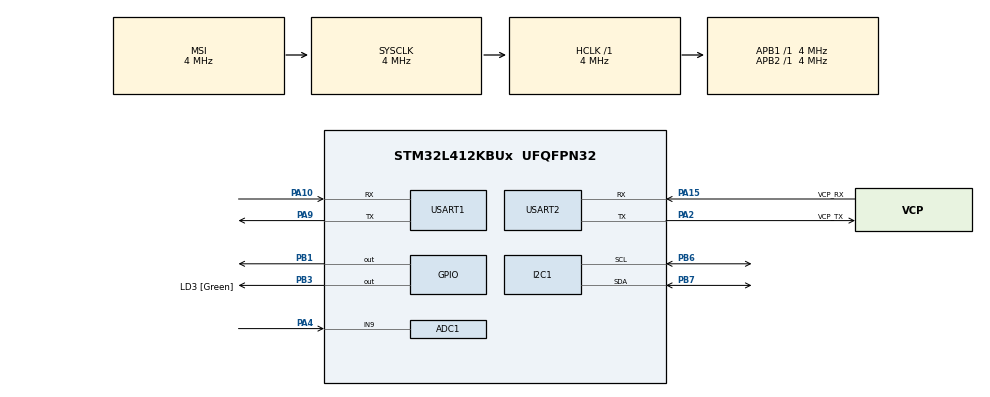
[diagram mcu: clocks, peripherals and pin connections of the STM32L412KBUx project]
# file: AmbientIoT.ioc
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ADC1.Channel-1\#ChannelRegularConversion=ADC_CHANNEL_9
ADC1.NbrOfConversionFlag=1
ADC1.OffsetNumber-1\#ChannelRegularConversion=ADC_OFFSET_NONE
ADC1.Rank-1\#ChannelRegularConversion=1
ADC1.SamplingTime-1\#ChannelRegularConversion=ADC_SAMPLETIME_2CYCLES_5
ADC1.master=1
Mcu.Family=STM32L4
Mcu.Name=STM32L412KBUx
Mcu.Package=UFQFPN32
NVIC.PriorityGroup=NVIC_PRIORITYGROUP_4
PA0-CK_IN.Mode=HSE-External-Clock-Source-for-LittleOrca
PA0-CK_IN.Signal=RCC_CK_IN
PA10.Mode=Asynchronous
PA10.Signal=USART1_RX
PA13\ (JTMS/SWDIO).GPIO_Label=SWDIO
PA13\ (JTMS/SWDIO).Mode=Serial_Wire
PA13\ (JTMS/SWDIO).Signal=SYS_JTMS-SWDIO
PA14\ (JTCK/SWCLK).GPIO_Label=SWCLK
PA14\ (JTCK/SWCLK).Mode=Serial_Wire
PA14\ (JTCK/SWCLK).Signal=SYS_JTCK-SWCLK
PA15\ (JTDI).GPIO_Label=VCP_RX
PA15\ (JTDI).Mode=Asynchronous
PA15\ (JTDI).Signal=USART2_RX
PA2.GPIO_Label=VCP_TX
PA2.Mode=Asynchronous
PA2.Signal=USART2_TX
PA4.Signal=ADCx_IN9
PA9.Mode=Asynchronous
PA9.Signal=USART1_TX
PB1.Signal=GPIO_Output
PB3\ (JTDO/TRACESWO).GPIO_Label=LD3 [Green]
PB3\ (JTDO/TRACESWO).Signal=GPIO_Output
PB6.Mode=I2C
PB6.Signal=I2C1_SCL
PB7.Mode=I2C
PB7.Signal=I2C1_SDA
PC14-OSC32_IN\ (PC14).Mode=LSE-External-Oscillator
PC14-OSC32_IN\ (PC14).Signal=RCC_OSC32_IN
PC15-OSC32_OUT\ (PC15).Mode=LSE-External-Oscillator
PC15-OSC32_OUT\ (PC15).Signal=RCC_OSC32_OUT
ProjectManager.HeapSize=0x200
ProjectManager.StackSize=0x400
ProjectManager.TargetToolchain=STM32CubeIDE
RCC.ADCFreq_Value=4000000
RCC.AHBFreq_Value=4000000
RCC.APB1Freq_Value=4000000
RCC.APB1TimFreq_Value=4000000
RCC.APB2Freq_Value=4000000
RCC.APB2TimFreq_Value=4000000
RCC.CortexFreq_Value=4000000
RCC.FLatency=FLASH_LATENCY_0
RCC.HCLKFreq_Value=4000000
RCC.HSE_VALUE=8000000
RCC.HSI48_VALUE=48000000
RCC.HSICalibrationValue=64
RCC.HSI_VALUE=16000000
RCC.LSE_Drive_Capability=RCC_LSEDRIVE_LOW
RCC.MSI_VALUE=4000000
RCC.SYSCLKFreq_VALUE=4000000
RCC.USBFreq_Value=4000000
RCC.VCOOutputFreq_Value=32000000
SH.ADCx_IN9.0=ADC1_IN9,IN9-Single-Ended
USART1.VirtualMode-Asynchronous=VM_ASYNC
USART2.VirtualMode-Asynchronous=VM_ASYNC
board=NUCLEO-L412KB

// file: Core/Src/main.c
/* USER CODE BEGIN Header */
/**
  ******************************************************************************
  * @file           : main.c
  * @brief          : Main program body
  ******************************************************************************
  * @attention
  *
  * Copyright (c) 2026 STMicroelectronics.
  * All rights reserved.
  *
  * This software is licensed under terms that can be found in the LICENSE file
  * in the root directory of this software component.
  * If no LICENSE file comes with this software, it is provided AS-IS.
  *
  ******************************************************************************
  */
/* USER CODE END Header */
#include "main.h"

/* USER CODE BEGIN Includes */

#include "sht3x.h"
#include "stdio.h"
#include "string.h"

/* USER CODE END Includes */

ADC_HandleTypeDef hadc1;

I2C_HandleTypeDef hi2c1;

UART_HandleTypeDef huart1;
UART_HandleTypeDef huart2;

/* USER CODE BEGIN PV */

int32_t  temperature;
uint32_t  humidity;
float moisture;
uint16_t moisture_adc;
char txBuffer[100];

/* USER CODE END PV */

void SystemClock_Config(void);
static void MX_GPIO_Init(void);
static void MX_USART2_UART_Init(void);
static void MX_ADC1_Init(void);
static void MX_I2C1_Init(void);
static void MX_USART1_UART_Init(void);
/* USER CODE BEGIN PFP */

void Read_Sensors(void);
void Transmit_Data(void);

/* USER CODE END PFP */

/* USER CODE BEGIN 0 */

void Read_Sensors(void)
{
    sht3x_one_shot_measurement_clock_stretching(
        &hi2c1,
		SHT3X_ADDRESS_DEFAULT,
		SHT3X_CLOCK_STRETCH_HIGH,
        &temperature,
        &humidity);

    HAL_GPIO_WritePin(GPIOB,
    		GPIO_PIN_1, GPIO_PIN_SET);

    HAL_Delay(1000);

    HAL_ADC_Start(&hadc1);

    HAL_ADC_PollForConversion(&hadc1, HAL_MAX_DELAY);

    moisture_adc = HAL_ADC_GetValue(&hadc1);

    HAL_ADC_Stop(&hadc1);

    moisture = (float) moisture_adc / 4095.0 * 100.0;

    HAL_GPIO_WritePin(GPIOB,
        		GPIO_PIN_1, GPIO_PIN_RESET);
}

void Transmit_Data(void)
{
    char buffer[64];
    uint8_t STX = 0x02;
    uint8_t ETX = 0x03;

    sprintf(buffer,
    		"ADC=%.2f Temp=%.2f C Hum=%lu %%\r\n",
			moisture,
			temperature / 100.0f,
			humidity);

    HAL_UART_Transmit(
    		&huart1,
			&STX,
			1,
			HAL_MAX_DELAY);

    HAL_UART_Transmit(
			&huart1,
			(uint8_t*)buffer,
			strlen(buffer),
			HAL_MAX_DELAY);

    HAL_UART_Transmit(
    		&huart1,
			&ETX,
			1,
			HAL_MAX_DELAY);

}

/* USER CODE END 0 */

int main(void)
{

  /* MCU Configuration--------------------------------------------------------*/

  /* Reset of all peripherals, Initializes the Flash interface and the Systick. */
  HAL_Init();

  /* Configure the system clock */
  SystemClock_Config();

  /* Initialize all configured peripherals */
  MX_GPIO_Init();
  MX_USART2_UART_Init();
  MX_ADC1_Init();
  MX_I2C1_Init();
  MX_USART1_UART_Init();
  /* USER CODE BEGIN 2 */

  if (sht3x_sensor_present(&hi2c1, 0x44))
  {
      printf("SHT31 found\r\n");
  }
  else
  {
      printf("SHT31 not found\r\n");
  }

  /* USER CODE END 2 */

  /* Infinite loop */
  /* USER CODE BEGIN WHILE */
  while (1)
  {

	Read_Sensors();
	Transmit_Data();

	HAL_Delay(1000);

    /* USER CODE END WHILE */

  }
}

void SystemClock_Config(void)
{
  RCC_OscInitTypeDef RCC_OscInitStruct = {0};
  RCC_ClkInitTypeDef RCC_ClkInitStruct = {0};

  /** Configure the main internal regulator output voltage
  */
  if (HAL_PWREx_ControlVoltageScaling(PWR_REGULATOR_VOLTAGE_SCALE1) != HAL_OK)
  {
    Error_Handler();
  }

  /** Configure LSE Drive Capability
  */
  HAL_PWR_EnableBkUpAccess();
  __HAL_RCC_LSEDRIVE_CONFIG(RCC_LSEDRIVE_LOW);

  /** Initializes the RCC Oscillators according to the specified parameters
  * in the RCC_OscInitTypeDef structure.
  */
  RCC_OscInitStruct.OscillatorType = RCC_OSCILLATORTYPE_LSE|RCC_OSCILLATORTYPE_MSI;
  RCC_OscInitStruct.LSEState = RCC_LSE_ON;
  RCC_OscInitStruct.MSIState = RCC_MSI_ON;
  RCC_OscInitStruct.MSICalibrationValue = 0;
  RCC_OscInitStruct.MSIClockRange = RCC_MSIRANGE_6;
  RCC_OscInitStruct.PLL.PLLState = RCC_PLL_NONE;
  if (HAL_RCC_OscConfig(&RCC_OscInitStruct) != HAL_OK)
  {
    Error_Handler();
  }

  /** Initializes the CPU, AHB and APB buses clocks
  */
  RCC_ClkInitStruct.ClockType = RCC_CLOCKTYPE_HCLK|RCC_CLOCKTYPE_SYSCLK
                              |RCC_CLOCKTYPE_PCLK1|RCC_CLOCKTYPE_PCLK2;
  RCC_ClkInitStruct.SYSCLKSource = RCC_SYSCLKSOURCE_MSI;
  RCC_ClkInitStruct.AHBCLKDivider = RCC_SYSCLK_DIV1;
  RCC_ClkInitStruct.APB1CLKDivider = RCC_HCLK_DIV1;
  RCC_ClkInitStruct.APB2CLKDivider = RCC_HCLK_DIV1;

  if (HAL_RCC_ClockConfig(&RCC_ClkInitStruct, FLASH_LATENCY_0) != HAL_OK)
  {
    Error_Handler();
  }

  /** Enable MSI Auto calibration
  */
  HAL_RCCEx_EnableMSIPLLMode();
}

static void MX_ADC1_Init(void)
{

  ADC_MultiModeTypeDef multimode = {0};
  ADC_ChannelConfTypeDef sConfig = {0};

  /** Common config
  */
  hadc1.Instance = ADC1;
  hadc1.Init.ClockPrescaler = ADC_CLOCK_ASYNC_DIV1;
  hadc1.Init.Resolution = ADC_RESOLUTION_12B;
  hadc1.Init.DataAlign = ADC_DATAALIGN_RIGHT;
  hadc1.Init.ScanConvMode = ADC_SCAN_DISABLE;
  hadc1.Init.EOCSelection = ADC_EOC_SINGLE_CONV;
  hadc1.Init.LowPowerAutoWait = DISABLE;
  hadc1.Init.ContinuousConvMode = DISABLE;
  hadc1.Init.NbrOfConversion = 1;
  hadc1.Init.DiscontinuousConvMode = DISABLE;
  hadc1.Init.ExternalTrigConv = ADC_SOFTWARE_START;
  hadc1.Init.ExternalTrigConvEdge = ADC_EXTERNALTRIGCONVEDGE_NONE;
  hadc1.Init.DMAContinuousRequests = DISABLE;
  hadc1.Init.Overrun = ADC_OVR_DATA_PRESERVED;
  hadc1.Init.OversamplingMode = DISABLE;
  if (HAL_ADC_Init(&hadc1) != HAL_OK)
  {
    Error_Handler();
  }

  /** Configure the ADC multi-mode
  */
  multimode.Mode = ADC_MODE_INDEPENDENT;
  if (HAL_ADCEx_MultiModeConfigChannel(&hadc1, &multimode) != HAL_OK)
  {
    Error_Handler();
  }

  /** Configure Regular Channel
  */
  sConfig.Channel = ADC_CHANNEL_9;
  sConfig.Rank = ADC_REGULAR_RANK_1;
  sConfig.SamplingTime = ADC_SAMPLETIME_2CYCLES_5;
  sConfig.SingleDiff = ADC_SINGLE_ENDED;
  sConfig.OffsetNumber = ADC_OFFSET_NONE;
  sConfig.Offset = 0;
  if (HAL_ADC_ConfigChannel(&hadc1, &sConfig) != HAL_OK)
  {
    Error_Handler();
  }

}

static void MX_I2C1_Init(void)
{

  hi2c1.Instance = I2C1;
  hi2c1.Init.Timing = 0x00000E14;
  hi2c1.Init.OwnAddress1 = 0;
  hi2c1.Init.AddressingMode = I2C_ADDRESSINGMODE_7BIT;
  hi2c1.Init.DualAddressMode = I2C_DUALADDRESS_DISABLE;
  hi2c1.Init.OwnAddress2 = 0;
  hi2c1.Init.OwnAddress2Masks = I2C_OA2_NOMASK;
  hi2c1.Init.GeneralCallMode = I2C_GENERALCALL_DISABLE;
  hi2c1.Init.NoStretchMode = I2C_NOSTRETCH_DISABLE;
  if (HAL_I2C_Init(&hi2c1) != HAL_OK)
  {
    Error_Handler();
  }

  /** Configure Analogue filter
  */
  if (HAL_I2CEx_ConfigAnalogFilter(&hi2c1, I2C_ANALOGFILTER_ENABLE) != HAL_OK)
  {
    Error_Handler();
  }

  /** Configure Digital filter
  */
  if (HAL_I2CEx_ConfigDigitalFilter(&hi2c1, 0) != HAL_OK)
  {
    Error_Handler();
  }

}

static void MX_USART1_UART_Init(void)
{

  huart1.Instance = USART1;
  huart1.Init.BaudRate = 115200;
  huart1.Init.WordLength = UART_WORDLENGTH_8B;
  huart1.Init.StopBits = UART_STOPBITS_1;
  huart1.Init.Parity = UART_PARITY_NONE;
  huart1.Init.Mode = UART_MODE_TX_RX;
  huart1.Init.HwFlowCtl = UART_HWCONTROL_NONE;
  huart1.Init.OverSampling = UART_OVERSAMPLING_16;
  huart1.Init.OneBitSampling = UART_ONE_BIT_SAMPLE_DISABLE;
  huart1.AdvancedInit.AdvFeatureInit = UART_ADVFEATURE_NO_INIT;
  if (HAL_UART_Init(&huart1) != HAL_OK)
  {
    Error_Handler();
  }

}

static void MX_USART2_UART_Init(void)
{

  huart2.Instance = USART2;
  huart2.Init.BaudRate = 115200;
  huart2.Init.WordLength = UART_WORDLENGTH_8B;
  huart2.Init.StopBits = UART_STOPBITS_1;
  huart2.Init.Parity = UART_PARITY_NONE;
  huart2.Init.Mode = UART_MODE_TX_RX;
  huart2.Init.HwFlowCtl = UART_HWCONTROL_NONE;
  huart2.Init.OverSampling = UART_OVERSAMPLING_16;
  huart2.Init.OneBitSampling = UART_ONE_BIT_SAMPLE_DISABLE;
  huart2.AdvancedInit.AdvFeatureInit = UART_ADVFEATURE_NO_INIT;
  if (HAL_UART_Init(&huart2) != HAL_OK)
  {
    Error_Handler();
  }

}

static void MX_GPIO_Init(void)
{
  GPIO_InitTypeDef GPIO_InitStruct = {0};

  /* GPIO Ports Clock Enable */
  __HAL_RCC_GPIOC_CLK_ENABLE();
  __HAL_RCC_GPIOA_CLK_ENABLE();
  __HAL_RCC_GPIOB_CLK_ENABLE();

  /*Configure GPIO pin Output Level */
  HAL_GPIO_WritePin(GPIOB, GPIO_PIN_1|LD3_Pin, GPIO_PIN_RESET);

  /*Configure GPIO pins : PB1 LD3_Pin */
  GPIO_InitStruct.Pin = GPIO_PIN_1|LD3_Pin;
  GPIO_InitStruct.Mode = GPIO_MODE_OUTPUT_PP;
  GPIO_InitStruct.Pull = GPIO_NOPULL;
  GPIO_InitStruct.Speed = GPIO_SPEED_FREQ_LOW;
  HAL_GPIO_Init(GPIOB, &GPIO_InitStruct);

}

void Error_Handler(void)
{
  __disable_irq();
  while (1)
  {
  }
}
